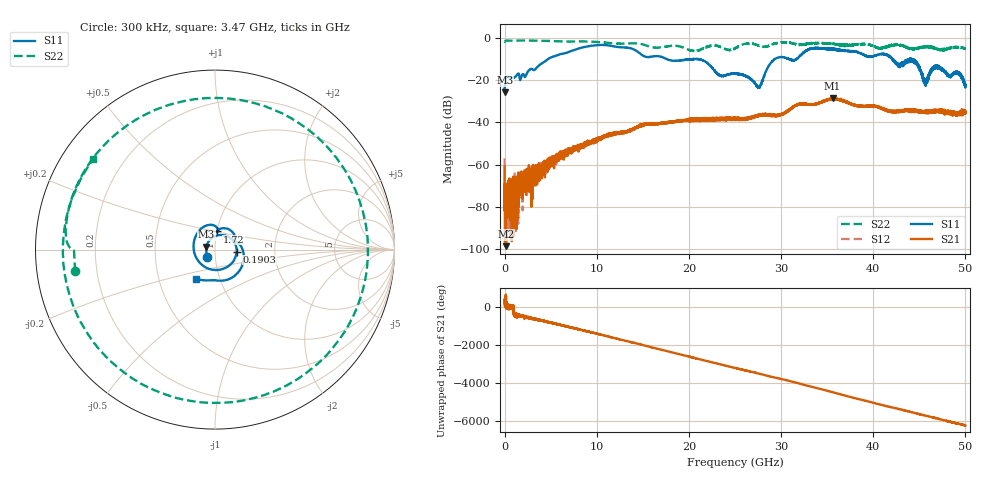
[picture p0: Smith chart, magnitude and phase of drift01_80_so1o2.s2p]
!Created with skrf (http://scikit-rf.org).
# Hz S RI R 50.0
!freq ReS11 ImS11 ReS21 ImS21 ReS12 ImS12 ReS22 ImS22
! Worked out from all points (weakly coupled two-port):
!   10001 points, 300 kHz to 50 GHz, reference 50 ohm
!   highest |S21| = -28.66 dB at 35.59 GHz (marker M1); lowest = -98.5 dB at 155.3 MHz (marker M2)
!   lowest |S11| = -25.8 dB at 5.3 MHz (marker M3), VSWR 1.11, Z = 45.3 + j1.42 ohm
!   |S11| at or under -10 dB: start of sweep to 4.764 GHz; 17.52 GHz to 29.37 GHz (11.85 GHz wide, 50.5 % of centre); 44.17 GHz to end of sweep (the widest 3 of 10)
!   |S22| runs from -6.4 to -1.3 dB; largest |S21 - S12| = 0.0041
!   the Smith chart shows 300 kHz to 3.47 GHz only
!   S11 on the Smith chart (normalised r, x): 300 kHz: 0.91, -0.07; 190.3 MHz: 1.27, -0.03; 1.72 GHz: 1.00, +0.20; 3.47 GHz: 0.77, -0.26
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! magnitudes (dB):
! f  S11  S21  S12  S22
! 300 kHz  -24.2  -60.8  -57.0  -2.1
! 5.3 MHz  -25.8  -81.7  -75.6  -2.1
! 155.3 MHz  -18.5  -98.5  -86.8  -1.4
! 190.3 MHz  -18.3  -75.3  -80.2  -1.4
! 495.3 MHz  -18.7  -71.7  -80.6  -1.4
! 1.72 GHz  -19.8  -66.1  -65.3  -1.4
! 3.47 GHz  -14.3  -62.4  -63.2  -1.5
! 8.335 GHz  -4.8  -51.8  -50.6  -1.8
! 16.67 GHz  -8.8  -40.6  -40.5  -4.8
! 25 GHz  -16.9  -38.3  -38.5  -5.0
! 27.59 GHz  -23.2  -36.8  -36.9  -3.7
! 29.3 GHz  -10.2  -36.9  -37.0  -2.9
! 31.48 GHz  -10.7  -32.2  -32.3  -2.9
! 33.34 GHz  -5.1  -31.7  -31.5  -2.6
! 35.59 GHz  -5.6  -28.7  -28.9  -3.1
! 41.67 GHz  -8.5  -34.6  -34.7  -4.0
! 42.79 GHz  -12.6  -34.8  -34.9  -3.4
! 44.49 GHz  -11.1  -34.5  -34.5  -5.3
! 45.63 GHz  -21.0  -35.3  -34.9  -4.3
! 46.96 GHz  -13.3  -34.3  -34.6  -5.4
! 49.27 GHz  -17.0  -36.6  -35.9  -4.5
! 50 GHz  -22.5  -34.9  -35.1  -5.2
